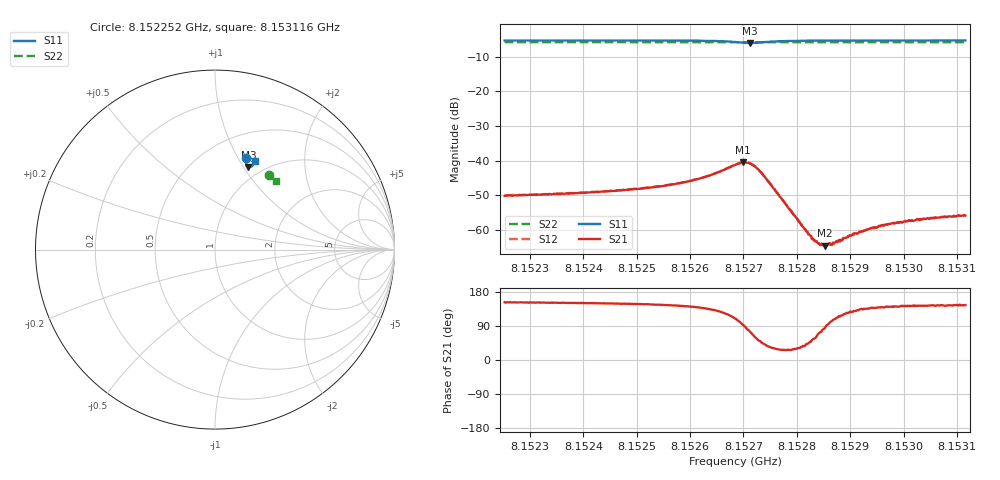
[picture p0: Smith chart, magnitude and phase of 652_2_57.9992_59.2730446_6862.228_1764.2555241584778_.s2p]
#  HZ  S  RI  R  50.00
! Rohde & Schwarz Vector Network Analyzer
! Rohde-Schwarz,ZNB20-2Port,1311601062101988,3.16
! Created: UTC 3/21/2024, 1:19:35 AM
! freq[Hz]  re:S11  im:S11  re:S21  im:S21  re:S12  im:S12  re:S22  im:S22
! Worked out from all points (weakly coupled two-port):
!   401 points, 8.152252 GHz to 8.153116 GHz, reference 50 ohm
!   highest |S21| = -40.49 dB at 8.152699 GHz (marker M1); lowest = -64.5 dB at 8.152853 GHz (marker M2)
!   lowest |S11| = -6.1 dB at 8.152712 GHz (marker M3), VSWR 2.98, Z = 43.1 + j52.7 ohm
!   |S11| at or under -10 dB: nowhere
!   |S22| runs from -5.9 to -5.8 dB; largest |S21 - S12| = 0.00021
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8.1522525e9  0.1742 0.5116  -0.00275 0.00144  -0.00279 0.00153  0.2995 0.415
8.1523971e9  0.1853 0.5078  -0.003 0.00169  -0.003 0.00175  0.3068 0.4094
8.152477e9  0.1919 0.5052  -0.0032 0.00196  -0.00319 0.00201  0.3108 0.4061
8.1525417e9  0.1982 0.502  -0.00351 0.00236  -0.00352 0.00244  0.3142 0.4035
8.1525806e9  0.2025 0.4993  -0.0038 0.00285  -0.00375 0.00291  0.3161 0.4018
8.1526194e9  0.2076 0.4944  -0.00413 0.00371  -0.00413 0.00377  0.318 0.4001
8.1526475e9  0.2116 0.488  -0.00432 0.00494  -0.0043 0.00503  0.3193 0.3987
8.1526842e9  0.2105 0.4698  -0.00291 0.0082  -0.00286 0.00826  0.3207 0.3966
8.1526993e9  0.2003 0.461  -0.000441 0.00944  -0.000381 0.00946  0.3211 0.3959
8.1527123e9  0.1863 0.4608  0.00236 0.00879  0.00253 0.0088  0.3211 0.3956
8.1527231e9  0.1769 0.4682  0.00419 0.00687  0.00421 0.00693  0.3214 0.3955
8.1527382e9  0.1735 0.4814  0.00444 0.00409  0.00456 0.00407  0.3223 0.3956
8.1528137e9  0.1927 0.5001  0.000849 0.000611  0.000834 0.000636  0.3267 0.3928
8.1528288e9  0.1954 0.5002  0.000453 0.00061  0.000469 0.000566  0.3275 0.3923
8.1528396e9  0.1973 0.5003  0.000236 0.000595  0.000296 0.000594  0.328 0.3917
8.1528526e9  0.1991 0.5002  5.55e-05 0.000593  7.6e-05 0.000579  0.3288 0.3911
8.1528677e9  0.2011 0.5  -0.00017 0.000606  -0.000156 0.000643  0.3294 0.3906
8.1529044e9  0.2053 0.4991  -0.000511 0.000685  -0.000517 0.00068  0.3314 0.3889
8.1529324e9  0.2082 0.4985  -0.000734 0.000713  -0.000706 0.000742  0.3327 0.3878
8.1529735e9  0.212 0.4973  -0.000951 0.000774  -0.000954 0.000797  0.3348 0.386
8.1530555e9  0.2186 0.4951  -0.00122 0.000872  -0.00118 0.000874  0.3385 0.3824
8.1531159e9  0.2229 0.4933  -0.00133 0.000926  -0.00134 0.000956  0.3415 0.3798
